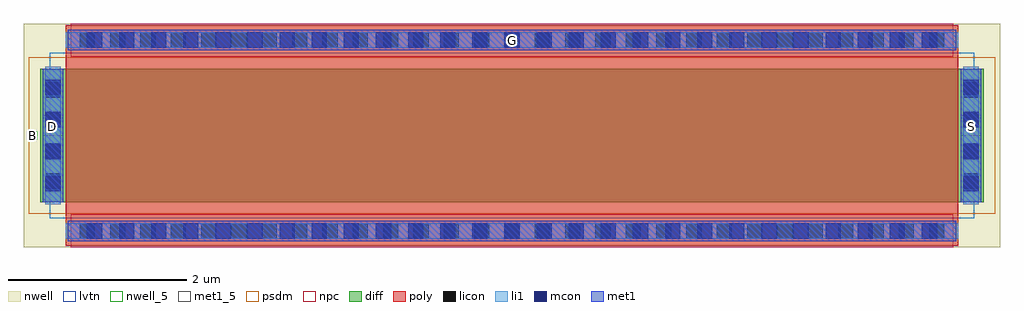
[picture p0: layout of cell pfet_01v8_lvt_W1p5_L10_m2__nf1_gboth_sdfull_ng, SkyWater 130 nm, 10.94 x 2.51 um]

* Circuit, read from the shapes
.subckt pfet_01v8_lvt_W1p5_L10_m2__nf1_gboth_sdfull_ng B D G S
XM1 S G D B sky130_fd_pr__pfet_01v8_lvt w=1.5 l=10
.ends

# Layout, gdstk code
import gdstk
lib = gdstk.Library(unit=1e-6, precision=1e-09)
def R(c, l, rs):  # rectangles x0, y0, x1, y1
    for r in rs: c.add(gdstk.rectangle(r[:2], r[2:], *l))
def A(c, l, x, y, w, h, nx, ny, dx, dy):  # array of equal rectangles
    R(c, l, [(x+i*dx, y+j*dy, x+i*dx+w, y+j*dy+h) for i in range(nx) for j in range(ny)])
nwell_5 = (64, 5)
nwell = (64, 20)
diff = (65, 20)
poly = (66, 20)
licon = (66, 44)
li1 = (67, 20)
mcon = (67, 44)
met1_5 = (68, 5)
met1 = (68, 20)
psdm = (94, 20)
npc = (95, 20)
lvtn = (125, 44)

sky130_fd_pr__pfet_01v8_ = lib.new_cell('sky130_fd_pr__pfet_01v8_lvt_BJW7CL')
R(sky130_fd_pr__pfet_01v8_, nwell, [(-5.47,-1.25,5.47,1.25)])
R(sky130_fd_pr__pfet_01v8_, diff, [(-5.29,-0.75,5.29,0.75)])
R(sky130_fd_pr__pfet_01v8_, poly, [(-5,-1.235,5,1.235)])
A(sky130_fd_pr__pfet_01v8_, licon, -4.845, -1.155, 0.17, 0.17, 29, 2, 0.34, 2.14)
A(sky130_fd_pr__pfet_01v8_, licon, -5.23, -0.595, 0.17, 0.17, 1, 4, 0, 0.34)
A(sky130_fd_pr__pfet_01v8_, licon, 5.06, -0.595, 0.17, 0.17, 1, 4, 0, 0.34)
R(sky130_fd_pr__pfet_01v8_, li1, [(-5,-1.155,5,-0.985), (-5.23,-0.77,-5.06,0.77), (5.06,-0.77,5.23,0.77), (-5,0.985,5,1.155)])
A(sky130_fd_pr__pfet_01v8_, mcon, -4.765, -1.155, 0.17, 0.17, 27, 2, 0.36, 2.14)
A(sky130_fd_pr__pfet_01v8_, mcon, -5.23, -0.625, 0.17, 0.17, 1, 4, 0, 0.36)
A(sky130_fd_pr__pfet_01v8_, mcon, 5.06, -0.625, 0.17, 0.17, 1, 4, 0, 0.36)
R(sky130_fd_pr__pfet_01v8_, met1, [(-4.98,-1.185,4.98,-0.955), (-5.26,-0.75,-5.03,0.75), (5.03,-0.75,5.26,0.75), (-4.98,0.955,4.98,1.185)])
R(sky130_fd_pr__pfet_01v8_, psdm, [(-5.415,-0.875,5.415,0.875)])
R(sky130_fd_pr__pfet_01v8_, npc, [(-4.945,-1.255,4.945,-0.885), (-4.945,0.885,4.945,1.255)])
R(sky130_fd_pr__pfet_01v8_, lvtn, [(-5.18,-0.93,5.18,0.93)])
sky130_fd_pr__pfet_01v8_.add(gdstk.Label('D', (-5.145,0), layer=67, texttype=5))
sky130_fd_pr__pfet_01v8_.add(gdstk.Label('S', (5.145,0), layer=67, texttype=5))
sky130_fd_pr__pfet_01v8_.add(gdstk.Label('G', (0,1.07), layer=67, texttype=5))

pfet_01v8_lvt_w1p5_l10_m = lib.new_cell('pfet_01v8_lvt_W1p5_L10_m2__nf1_gboth_sdfull_ng')
R(pfet_01v8_lvt_w1p5_l10_m, nwell_5, [(0.05,1.2,0.15,1.3)])
R(pfet_01v8_lvt_w1p5_l10_m, nwell, [(0.05,1.2,0.15,1.3)])
R(pfet_01v8_lvt_w1p5_l10_m, met1_5, [(0.21,1.25,0.44,1.45), (10.5,1.25,10.73,1.45), (0.49,2.205,10.45,2.435)])
R(pfet_01v8_lvt_w1p5_l10_m, met1, [(0.21,1.25,0.44,1.45), (10.5,1.25,10.73,1.45), (0.49,2.205,10.45,2.435)])
pfet_01v8_lvt_w1p5_l10_m.add(gdstk.Reference(sky130_fd_pr__pfet_01v8_, (5.47,1.25)))
pfet_01v8_lvt_w1p5_l10_m.add(gdstk.Label('D', (0.325,1.35), layer=68, texttype=5))
pfet_01v8_lvt_w1p5_l10_m.add(gdstk.Label('S', (10.615,1.35), layer=68, texttype=5))
pfet_01v8_lvt_w1p5_l10_m.add(gdstk.Label('G', (5.47,2.32), layer=68, texttype=5))
pfet_01v8_lvt_w1p5_l10_m.add(gdstk.Label('B', (0.1,1.25), layer=64, texttype=5))

lib.write_gds('pfet_01v8_lvt_W1p5_L10_m2__nf1_gboth_sdfull_ng.gds')
